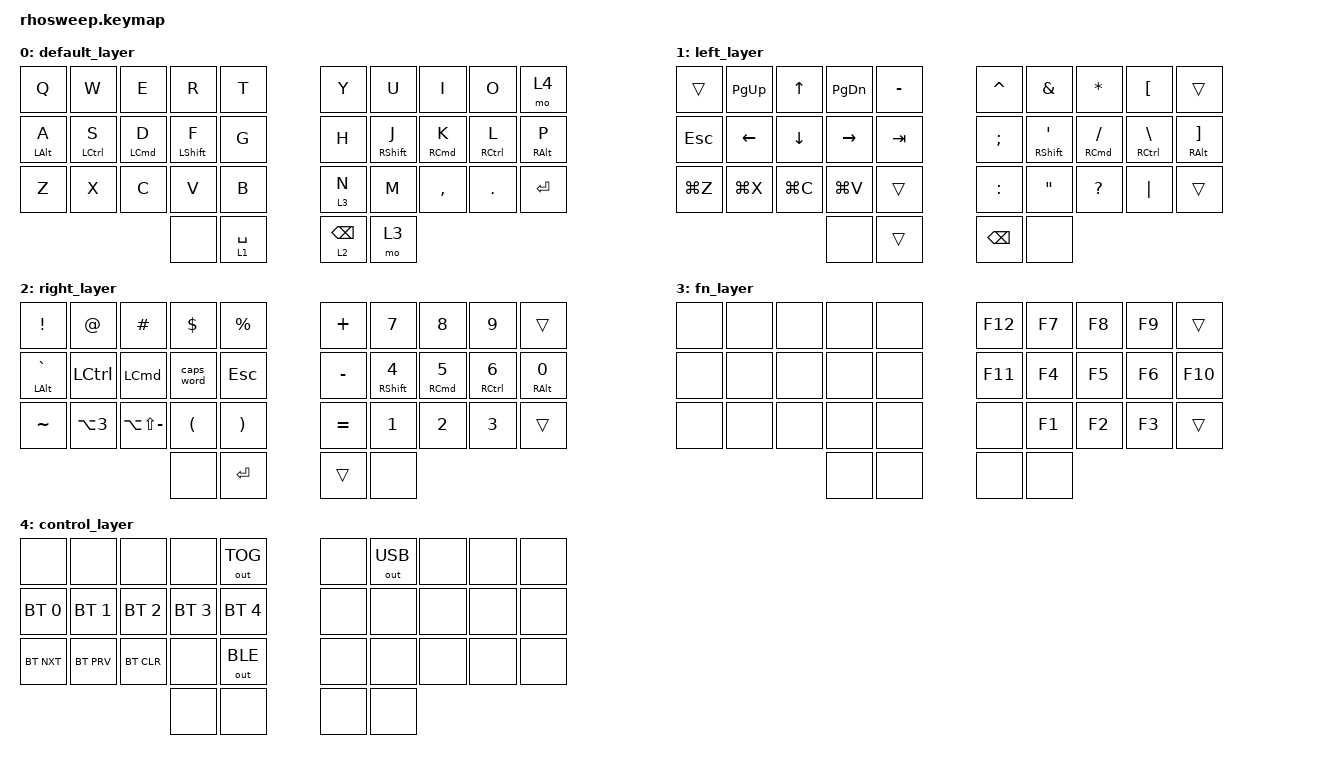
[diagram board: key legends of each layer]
#include <behaviors.dtsi>
#include <dt-bindings/zmk/keys.h>
#include <dt-bindings/zmk/outputs.h>
#include <dt-bindings/zmk/bt.h>

// My weird keymap (copied and modified from the Manta version; should combine at some point)

&caps_word {
    continue-list = <UNDERSCORE MINUS>;
};

/ {
    behaviors {
        // See https://zmk.dev/docs/behaviors/hold-tap
        hm: homerow_mods {
            compatible = "zmk,behavior-hold-tap";
            label = "HOMEROW_MODS";
            #binding-cells = <2>;
            tapping-term-ms = <150>;
            quick-tap-ms = <0>;
            flavor = "tap-preferred";
            bindings = <&kp>, <&kp>;
        };
    };

    keymap {
        compatible = "zmk,keymap";

        default_layer {
            bindings = <
                &kp Q &kp W &kp E &kp R &kp T     &kp Y &kp U &kp I &kp O &mo 4
                &hm LALT A &hm LCTRL S &hm LCMD D &hm LSHIFT F &kp G
                                        &kp H &hm RSHIFT J &hm RCMD K &hm RCTRL L &hm RALT P
                &kp Z &kp X &kp C &kp V &kp B     &lt 3 N &kp M &kp COMMA &kp DOT &kp RET
                                    &none &lt 1 SPACE &lt 2 BSPC &mo 3
            >;
        };

        left_layer {
            bindings = <
                &trans &kp PG_UP &kp UP &kp PG_DN &kp MINUS
                                            &kp CARET &kp AMPS &kp STAR &kp LBKT &trans
                &kp ESC &kp LEFT &kp DOWN &kp RIGHT &kp TAB
                                            &kp SEMI &hm RSHIFT SQT &hm RCMD SLASH &hm RCTRL BSLH &hm RALT RBKT
                &kp LG(Z) &kp LG(X) &kp LG(C) &kp LG(V) &trans
                                            &kp COLON &kp DQT &kp QMARK &kp PIPE &trans
                                        &none &trans  &kp BSPC &none
            >;
        };

        right_layer {
            bindings = <
                &kp EXCL &kp AT &kp POUND &kp DOLLAR &kp PERCENT
                                            &kp PLUS &kp N7 &kp N8 &kp N9 &trans
                &hm LALT GRAVE &kp LCTRL &kp LCMD &caps_word &kp ESC
                                            &kp MINUS &hm RSHIFT N4 &hm RCMD N5 &hm RCTRL N6 &hm RALT N0
                &kp TILDE &kp LA(N3) &kp LA(LS(MINUS)) &kp LPAR &kp RPAR
                                            &kp EQUAL &kp N1 &kp N2 &kp N3 &trans
                                        &none &kp RET  &trans &none
            >;
        };
        
        fn_layer {
            bindings = <
                &none &none &none &none &none           &kp F12 &kp F7 &kp F8 &kp F9 &trans
                &none &none &none &none &none           &kp F11 &kp F4 &kp F5 &kp F6 &kp F10
                &none &none &none &none &none           &none   &kp F1 &kp F2 &kp F3 &trans
                                       &none &none &none &none
            >;
        };

        control_layer {
            bindings = <
                &none &none &none &none &out OUT_TOG                    &none &out OUT_USB &none &none &none
                &bt BT_SEL 0 &bt BT_SEL 1 &bt BT_SEL 2 &bt BT_SEL 3 &bt BT_SEL 4
                                                                        &none &none &none &none &none
                &bt BT_NXT &bt BT_PRV &bt BT_CLR &none &out OUT_BLE     &none &none &none &none &none
                                                    &none &none &none &none
            >;
        };
    };
};
